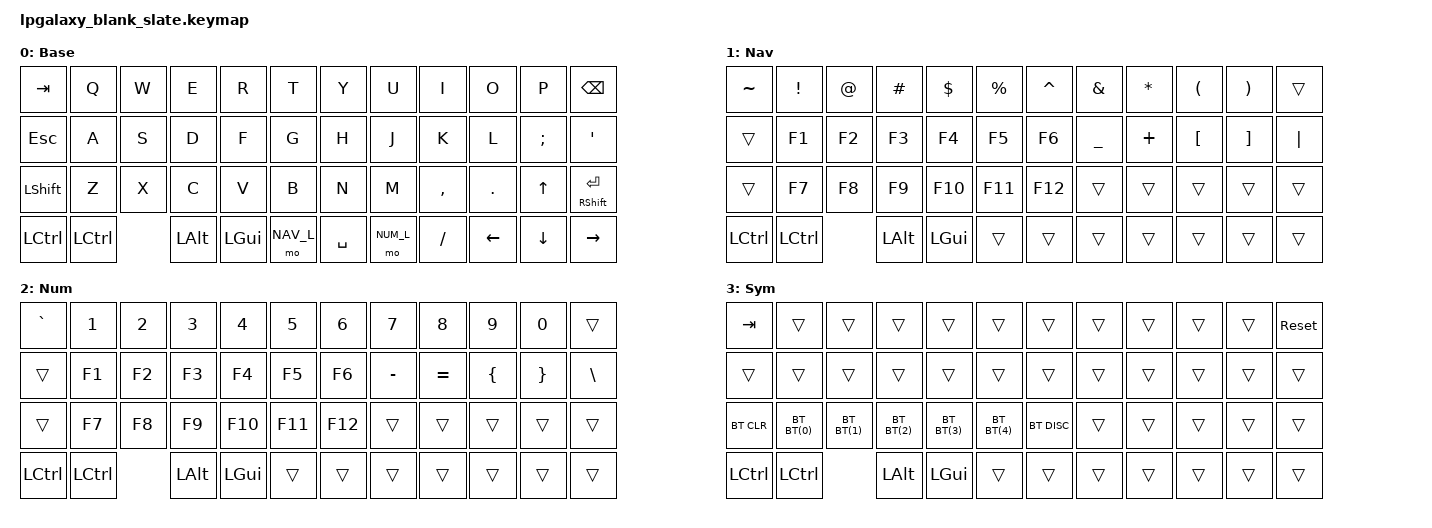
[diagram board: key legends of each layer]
/*
 * Copyright (c) 2022 Pete Johanson
 *
 * SPDX-License-Identifier: MIT
 */

#include <behaviors.dtsi>
#include <dt-bindings/zmk/keys.h>
#include <dt-bindings/zmk/bt.h>
#include <dt-bindings/zmk/outputs.h>

#define QWERTY_BASE 1

// #define TBLE_ORTHO   1
   #define TBLE_MIT     1
// #define TBLE_DUAL_2U 1

#define NAV_L 1
#define NUM_L 2
#define SYM_L 3

// Using layer taps on thumbs, having quick tap as well helps w/ repeating space/backspace
&lt { quick_tap_ms = <200>; };

#define BT(n) BT_SEL n

/ {
    chosen {
       zmk,matrix_transform =
#ifdef TBLE_DUAL_2U
                       &dual_2u_transform;
#elif defined(TBLE_MIT)
                       &mit_transform;
#else
                       &ortho_transform;
#endif
    };

    macros {
      ZMK_MACRO(thumbs_up,
		wait-ms = <1>;
		tap-ms = <5>;
                bindings = <&kp PLUS &kp COLON &kp PLUS &kp N1 &kp COLON &kp RET>;
		)
    };
    
    tap_dances {
    	shifty: shift_caps_word {
		compatible = "zmk,behavior-tap-dance";
		label = "TD_SHIFTY";
		#binding-cells = <0>;
		tapping-term-ms = <150>;
		bindings = <&kp LSHFT>, <&caps_word>;
	};
    };

// Conditional layer only when we have less thumb keys
#ifdef TBLE_MIT
    cond_layers {
        compatible = "zmk,conditional-layers";
	tri {
	    if-layers = <NUM_L NAV_L>;
	    then-layer = <SYM_L>;
        };
    };
#endif

    keymap {
        compatible = "zmk,keymap";

        base_layer {
            label = "Base";
            bindings = <
 &kp TAB    &kp Q      &kp W      &kp E       &kp R          &kp T          &kp Y            &kp U          &kp I       &kp O      &kp P         &kp BKSP
 &kp ESC    &kp A      &kp S      &kp D       &kp F          &kp G          &kp H            &kp J          &kp K       &kp L      &kp SEMI      &kp QUOT
 &kp LSHFT  &kp Z      &kp X      &kp C       &kp V          &kp B          &kp N            &kp M          &kp COMMA   &kp DOT    &kp UP        &mt RSHIFT RET
 &kp LCTRL  &kp LEFT_CONTROL   &kp LALT  &kp LGUI    &mo NAV_L          &kp SPACE            &mo NUM_L      &kp FSLH    &kp LEFT   &kp DOWN      &kp RIGHT
            >;
        };

        nav_layer {
            label = "Nav";
            bindings = <
&kp TILDE      &kp EXCL     &kp AT     &kp HASH      &kp DLLR          &kp PRCNT       &kp CARET     &kp AMPS         &kp STAR      &kp LPAR   &kp RPAR     &trans
&trans      &kp F1       &kp F2     &kp F3        &kp F4            &kp F5          &kp F6        &kp UNDERSCORE       &kp PLUS    &kp LBKT     &kp RBKT  &kp PIPE
&trans      &kp F7       &kp F8     &kp F9        &kp F10           &kp F11         &kp F12       &trans          &trans       &trans       &trans        &trans
 &kp LCTRL  &kp LEFT_CONTROL   &kp LALT  &kp LGUI       &trans                &trans             &trans     &trans   &trans &trans &trans

            >;
        };

        num_layer {
            label = "Num";
            bindings = <
&kp GRAVE     &kp N1   &kp N2 &kp N3 &kp N4    &kp N5    &kp N6    &kp N7           &kp N8      &kp N9       &kp N0     &trans
&trans     &kp F1   &kp F2 &kp F3 &kp F4    &kp F5    &kp F6    &kp MINUS   &kp EQUAL    &kp LBRC   &kp RBRC     &kp BSLH
&trans     &kp F7   &kp F8 &kp F9 &kp F10   &kp F11   &kp F12   &trans     &trans      &trans       &trans     &trans
 &kp LCTRL  &kp LEFT_CONTROL   &kp LALT  &kp LGUI      &trans           &trans            &trans        &trans      &trans &trans &trans
            >;
        };

        sym_layer {
            label = "Sym";
            bindings = <
&kp TAB     &trans     &trans    &trans       &trans       &trans     &trans     &trans    &trans       &trans       &trans     &sys_reset
&trans     &trans     &trans    &trans       &trans       &trans     &trans     &trans    &trans       &trans       &trans     &trans
&bt BT_CLR &bt BT(0)  &bt BT(1)  &bt BT(2)   &bt BT(3)    &bt BT(4)  &bt BT_DISC     &trans    &trans       &trans       &trans     &trans
 &kp LCTRL  &kp LEFT_CONTROL   &kp LALT  &kp LGUI      &trans                &trans             &trans      &trans   &trans &trans &trans
            >;
        };


    };
};

